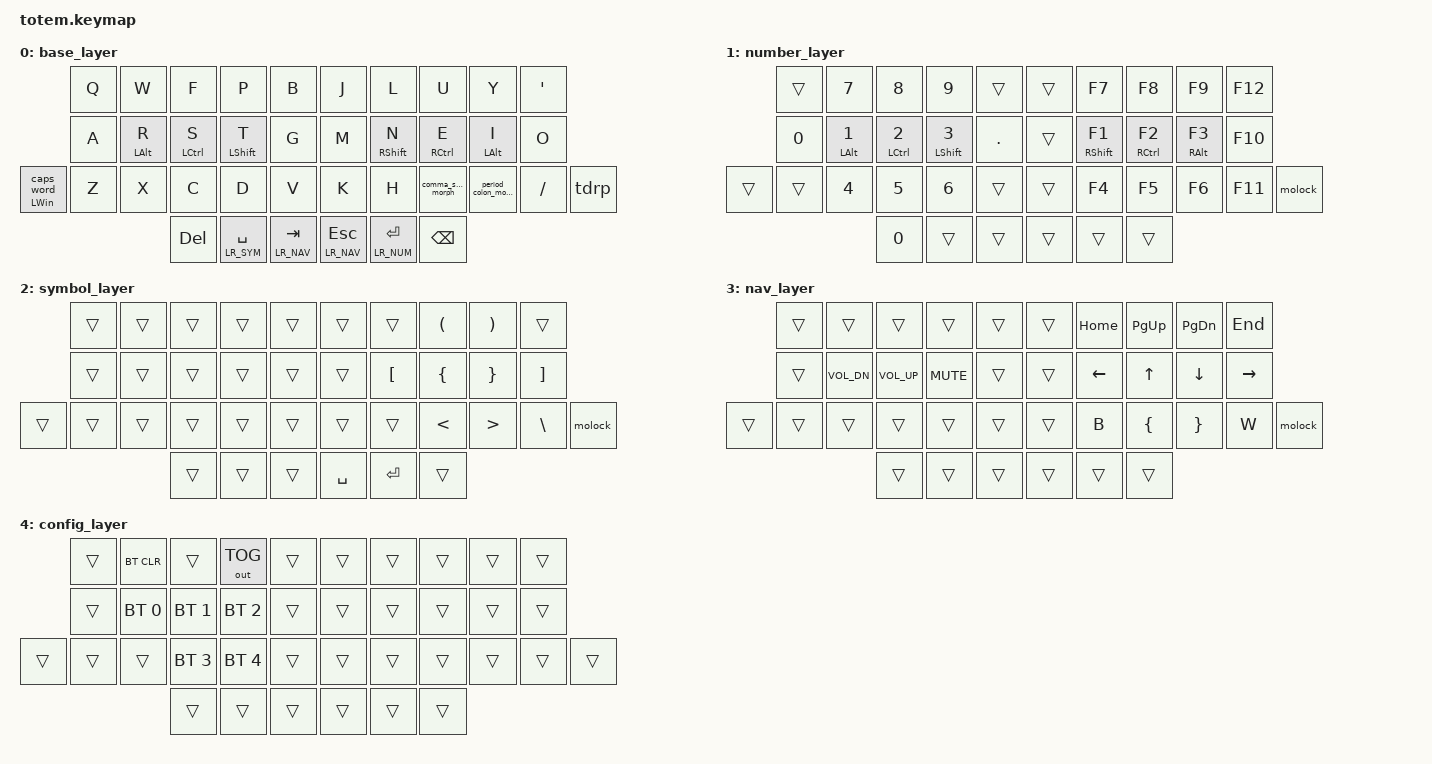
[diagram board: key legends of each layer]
//
//                                                        ▀▀▀▀▀     ▀▀▀▀▀          ▀▀█▀▀
//                                                        ▄▀▀▀▄  ▄  ▄▀▀▀▄  ▄  ▄▀▀▀▄  █  ▄▀▀▀▄
//                                                        █   █  █  █   █  █  █   █  █  █   █
//                                                         ▀▀▀   █   ▀▀▀   █   ▀▀▀   ▀   ▀▀▀
//                                                               █      ▄▄▄█▄▄▄    █   █
//                                                               ▀      █  █  █     █▄█
//                                                             ▀▀▀▀▀    █  █  █      ▀
//                                                                      ▀  ▀  ▀
//
// ▄▄▄▄▄▄▄▄▄▄▄▄▄▄▄▄▄▄▄▄▄▄▄▄▄▄▄▄▄▄▄▄▄▄▄▄▄▄▄▄▄▄▄▄▄▄▄▄▄▄▄▄▄▄▄▄▄▄▄▄▄▄▄▄▄▄▄▄▄▄▄▄▄▄▄▄▄▄▄▄▄▄▄▄▄▄▄▄▄▄▄▄▄▄▄▄▄▄▄▄▄▄▄▄▄▄▄▄▄▄▄▄▄▄▄▄▄▄▄▄▄▄▄▄▄▄▄▄▄▄▄▄▄▄▄▄▄▄▄▄▄▄▄▄▄▄▄▄▄

#include <behaviors.dtsi>
#include <dt-bindings/zmk/bt.h>
#include <dt-bindings/zmk/keys.h>
#include <dt-bindings/zmk/outputs.h>
#include "./nodefree.keymap"

// Layer names

#define LR_BSE 0
#define LR_NUM 1
#define LR_SYM 2
#define LR_NAV 3
#define LR_CFG 4

#define TYPING_LAYERS LR_BSE LR_SYM LR_NUM

// Key positions for `hold-trigger-tap-positions`

#define LEFT_TOP_KEYS LT0 LT1 LT2 LT3 LT4
#define LEFT_MID_KEYS LM0 LM1 LM2 LM3 LM4
#define LEFT_BOT_KEYS LB0 LB1 LB2 LB3 LB4 LB5
#define LEFT_TMB_KEYS LH0 LH1 LH2
#define LEFT_KEYS LEFT_TOP_KEYS LEFT_MID_KEYS LEFT_BOT_KEYS LEFT_TMB_KEYS

#define RGHT_TOP_KEYS RT0 RT1 RT2 RT3 RT4
#define RGHT_MID_KEYS RM0 RM1 RM2 RM3 RM4
#define RGHT_BOT_KEYS RB0 RB1 RB2 RB3 RB4 RB5
#define RGHT_TMB_KEYS RH0 RH1 RH2
#define RGHT_KEYS RGHT_TOP_KEYS RGHT_MID_KEYS RGHT_BOT_KEYS RGHT_TMB_KEYS

#define HOME_ROW_COMBO_TIMEOUT 30
#define VERT_COMBO_TIMEOUT 50
#define HRZN_COMBO_TIMEOUT 40

#define COMBO(NAME, BINDINGS, KEYPOS, LAYERS, TIMEOUT) \
  combo_##NAME { \
    timeout-ms = <TIMEOUT>; \
    bindings = <BINDINGS>; \
    key-positions = <KEYPOS>; \
    layers = <LAYERS>; \
    require-prior-idle-ms = <80>; \
  }

&lt {
    flavor = "hold-preferred";
};

/ {
    behaviors {
        hrm_l: left_homerow_mods {
            compatible = "zmk,behavior-hold-tap";
            label = "HOMEROW_MODS_LEFT";
            #binding-cells = <2>;
            flavor = "tap-preferred";
            tapping-term-ms = <200>;
            require-prior-idle-ms = <125>;
            hold-trigger-key-positions = <RGHT_KEYS LEFT_TOP_KEYS LEFT_BOT_KEYS LEFT_TMB_KEYS>;
            hold-trigger-on-release;
            bindings = <&kp>, <&kp>;
        };
        hrm_r: right_homerow_mods {
            compatible = "zmk,behavior-hold-tap";
            label = "HOMEROW_MODS_RIGHT";
            #binding-cells = <2>;
            flavor = "tap-preferred";
            tapping-term-ms = <200>;
            require-prior-idle-ms = <125>;
            hold-trigger-key-positions = <LEFT_KEYS RGHT_TOP_KEYS RGHT_BOT_KEYS RGHT_TMB_KEYS>;
            hold-trigger-on-release;
            bindings = <&kp>, <&kp>;
        };
        period_colon_morph: period_colon_morph {
            compatible = "zmk,behavior-mod-morph";
            label = "PERIOD_COLON_MORPH";
            bindings = <&kp DOT>, <&kp COLON>;

            #binding-cells = <0>;
            mods = <(MOD_LSFT|MOD_RSFT)>;
        };
        comma_semi_morph: comma_semi_morph {
            compatible = "zmk,behavior-mod-morph";
            label = "COMMA_SEMI_MORPH";
            bindings = <&kp COMMA>, <&kp SEMI>;

            #binding-cells = <0>;
            mods = <(MOD_LSFT|MOD_RSFT)>;
        };
        ht_kp_cw: ht_kp_cw {
            compatible = "zmk,behavior-hold-tap";
            label = "ht_kp_cw";
            bindings = <&kp>, <&caps_word>;

            #binding-cells = <2>;
            tapping-term-ms = <200>;
        };
        tdrp: tap_dance_right_pinky {
            compatible = "zmk,behavior-tap-dance";
            label = "tap_dance_right_pinky";
            #binding-cells = <0>;
            tapping-term-ms = <400>;
            bindings = <&sk LSHFT>, <&kp RALT>;
        };
    };

    combos {
        compatible = "zmk,combos";

        config_layer_combo {
            bindings = <&sl LR_CFG>;
            key-positions = <20 31>;
            timeout-ms = <1000>;
        };

        // Vertical (RHS)
        COMBO(at, &kp AT, RT0 RM0, TYPING_LAYERS, VERT_COMBO_TIMEOUT);
        COMBO(qmark, &kp QMARK, RB0 RM0, TYPING_LAYERS, VERT_COMBO_TIMEOUT);
        COMBO(under, &kp UNDER, RT1 RM1, TYPING_LAYERS, VERT_COMBO_TIMEOUT);
        COMBO(semi, &kp SEMI, RT2 RM2, TYPING_LAYERS, VERT_COMBO_TIMEOUT);
        COMBO(colon, &kp COLON, RT3 RM3, TYPING_LAYERS, VERT_COMBO_TIMEOUT);

        // Vertical (LHS)
        COMBO(lbrc_vert, &kp LBRC, LT3 LM3, TYPING_LAYERS, VERT_COMBO_TIMEOUT);
        COMBO(rbrc_vert, &kp RBRC, LT2 LM2, TYPING_LAYERS, VERT_COMBO_TIMEOUT);
        COMBO(dash_lhs, &kp MINUS, LT1 LM1, TYPING_LAYERS, VERT_COMBO_TIMEOUT);

        // Middle row
        COMBO(equal, &hrm_r RS(RCTRL) EQUAL, RM1 RM2, LR_BSE, HOME_ROW_COMBO_TIMEOUT);
        COMBO(plus, &hrm_r RS(LALT) PLUS, RM1 RM3, LR_BSE, HOME_ROW_COMBO_TIMEOUT);
        COMBO(star, &hrm_r RC(LALT) STAR, RM2 RM3, LR_BSE, HOME_ROW_COMBO_TIMEOUT);
        COMBO(bang, &kp EXCL, RM0 RM1, LR_BSE, HOME_ROW_COMBO_TIMEOUT);
        COMBO(dash, &kp MINUS, RM3 RM4, LR_BSE, HOME_ROW_COMBO_TIMEOUT);

        COMBO(lparen, &hrm_l LC(LALT) LPAR, LM3 LM2, LR_BSE, HOME_ROW_COMBO_TIMEOUT);
        COMBO(rparen, &hrm_l LS(LCTRL) RPAR, LM2 LM1, LR_BSE, HOME_ROW_COMBO_TIMEOUT);
        COMBO(qmark_lhs, &hrm_l LS(LCTRL) QMARK, LM3 LM1, LR_BSE, HOME_ROW_COMBO_TIMEOUT);

        COMBO(amps, &kp AMPS, RB1 RB2, LR_BSE, HRZN_COMBO_TIMEOUT);
        COMBO(pipe, &kp PIPE, RB2 RB3, LR_BSE, HRZN_COMBO_TIMEOUT);
        COMBO(hash, &kp HASH, RB1 RB3, LR_BSE, HRZN_COMBO_TIMEOUT);
        COMBO(prcnt, &kp PRCNT, RB1 RB2 RB3, LR_BSE, HRZN_COMBO_TIMEOUT);
        COMBO(bslh, &kp BSLH, RB3 RB4, LR_BSE, HRZN_COMBO_TIMEOUT);

        COMBO(lt, &kp LT, LB3 LB2, LR_BSE, HRZN_COMBO_TIMEOUT);
        COMBO(gt, &kp GT, LB2 LB1, LR_BSE, HRZN_COMBO_TIMEOUT);

        // Top row
        COMBO(caret, &kp CARET, RT1 RT2, LR_BSE, HRZN_COMBO_TIMEOUT);
        COMBO(dllr, &kp DLLR, RT2 RT3, LR_BSE, HRZN_COMBO_TIMEOUT);
        COMBO(grave, &kp GRAVE, RT1 RT3, LR_BSE, HRZN_COMBO_TIMEOUT);
        COMBO(dquote, &kp DQT, RT3 RT4, LR_BSE, HRZN_COMBO_TIMEOUT);
        COMBO(right_arrow, &right_arrow, RT2 RT3 RT4, LR_BSE, HRZN_COMBO_TIMEOUT);
        COMBO(my_double_colon, &my_double_colon, RT1 RT2 RT3, LR_BSE, HRZN_COMBO_TIMEOUT);

        COMBO(ctrl_k, &kp LC(K), LT4 LT3, LR_BSE, HRZN_COMBO_TIMEOUT);
        COMBO(lbkt, &kp LBKT, LT3 LT2, LR_BSE, HRZN_COMBO_TIMEOUT);
        COMBO(rbkt, &kp RBKT, LT2 LT1, LR_BSE, HRZN_COMBO_TIMEOUT);

        COMBO(ctrl_pgup, &kp LC(PG_UP), RM1 RM2, LR_NAV, HRZN_COMBO_TIMEOUT);
        COMBO(ctrl_pgdown, &kp LC(PG_DN), RM2 RM3, LR_NAV, HRZN_COMBO_TIMEOUT);
    };

    macros {
        right_arrow: right_arrow {
            compatible = "zmk,behavior-macro";
            #binding-cells = <0>;
            bindings = <&kp MINUS &kp GT>;
            label = "RIGHT_ARROW";
        };
        my_double_colon: my_double_colon {
            compatible = "zmk,behavior-macro";
            #binding-cells = <0>;
            bindings = <&kp COLON &kp COLON>;
            label = "MY_DOUBLE_COLON";
        };
    };

    keymap {
        compatible = "zmk,keymap";

        base_layer {
            bindings = <
                  &kp Q  &kp W          &kp F           &kp P             &kp B             &kp J           &kp L             &kp U              &kp Y                &kp SINGLE_QUOTE
                  &kp A  &hrm_l LALT R  &hrm_l LCTRL S  &hrm_l LSHFT T    &kp G             &kp M           &hrm_r RSHFT N    &hrm_r RCTRL E     &hrm_r LALT I        &kp O
&ht_kp_cw LWIN 0  &kp Z  &kp X          &kp C           &kp D             &kp V             &kp K           &kp H             &comma_semi_morph  &period_colon_morph  &kp FSLH          &tdrp
                                        &kp DEL         &lt LR_SYM SPACE  &lt LR_NAV TAB    &lt LR_NAV ESC  &lt LR_NUM ENTER  &kp BSPC
            >;
        };

        number_layer {
            bindings = <
        &trans  &kp N7          &kp N8           &kp N9            &trans      &trans  &kp F7           &kp F8           &kp F9          &kp F12
        &kp N0  &hrm_l LALT N1  &hrm_l LCTRL N2  &hrm_l LSHIFT N3  &kp DOT     &trans  &hrm_r RSHFT F1  &hrm_r RCTRL F2  &hrm_r RALT F3  &kp F10
&trans  &trans  &kp N4          &kp N5           &kp N6            &trans      &trans  &kp F4           &kp F5           &kp F6          &kp F11  &molock
                                &kp N0           &trans            &trans      &trans  &trans           &trans
            >;
        };

        symbol_layer {
            bindings = <
        &trans  &trans  &trans  &trans  &trans    &trans     &trans     &kp LPAR  &kp RPAR  &trans
        &trans  &trans  &trans  &trans  &trans    &trans     &kp LBKT   &kp LBRC  &kp RBRC  &kp RBKT
&trans  &trans  &trans  &trans  &trans  &trans    &trans     &trans     &kp LT    &kp GT    &kp BSLH  &molock
                        &trans  &trans  &trans    &kp SPACE  &kp ENTER  &trans
            >;
        };

        nav_layer {
            bindings = <
        &trans  &trans       &trans       &trans     &trans    &trans  &kp HOME  &kp PG_UP  &kp PG_DN  &kp END
        &trans  &kp C_VOL_DN &kp C_VOL_UP &kp C_MUTE &trans    &trans  &kp LEFT  &kp UP     &kp DOWN   &kp RIGHT
&trans  &trans  &trans       &trans       &trans     &trans    &trans  &kp B     &kp LBRC   &kp RBRC   &kp W      &molock
                             &trans       &trans     &trans    &trans  &trans    &trans
            >;
        };

        config_layer {
            bindings = <
        &trans  &bt BT_CLR    &trans        &out OUT_TOG  &trans    &trans  &trans  &trans  &trans  &trans
        &trans  &bt BT_SEL 0  &bt BT_SEL 1  &bt BT_SEL 2  &trans    &trans  &trans  &trans  &trans  &trans  &trans
&trans  &trans  &bt BT_SEL 3  &bt BT_SEL 4  &trans        &trans    &trans  &trans  &trans  &trans  &trans
                              &trans        &trans        &trans    &trans  &trans  &trans
            >;
        };
    };

    conditional_layers {
        compatible = "zmk,conditional-layers";
    };
};
